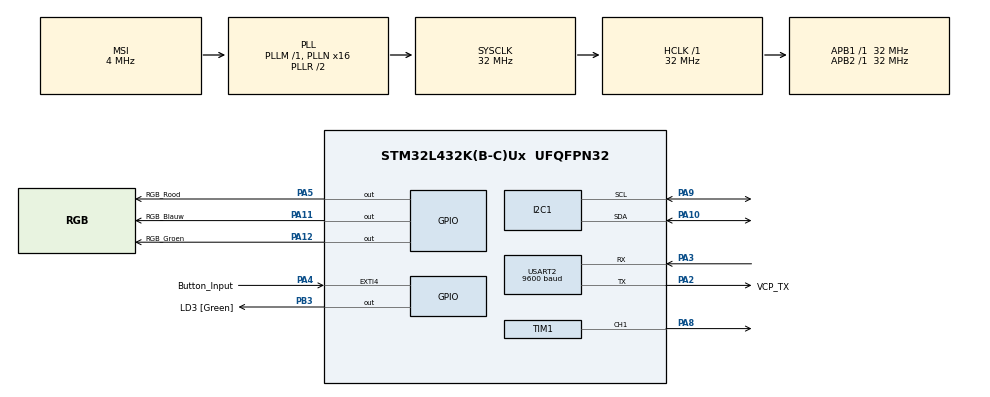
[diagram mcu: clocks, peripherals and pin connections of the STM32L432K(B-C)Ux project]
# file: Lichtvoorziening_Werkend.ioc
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Dma.Request0=TIM1_CH1
Dma.TIM1_CH1.0.Direction=DMA_MEMORY_TO_PERIPH
Dma.TIM1_CH1.0.Instance=DMA1_Channel2
Dma.TIM1_CH1.0.MemDataAlignment=DMA_MDATAALIGN_HALFWORD
Dma.TIM1_CH1.0.MemInc=DMA_MINC_ENABLE
Dma.TIM1_CH1.0.Mode=DMA_CIRCULAR
Dma.TIM1_CH1.0.PeriphDataAlignment=DMA_PDATAALIGN_HALFWORD
Dma.TIM1_CH1.0.PeriphInc=DMA_PINC_DISABLE
Dma.TIM1_CH1.0.Priority=DMA_PRIORITY_LOW
I2C1.Timing=0x00B07CB4
Mcu.Family=STM32L4
Mcu.Name=STM32L432K(B-C)Ux
Mcu.Package=UFQFPN32
NVIC.DMA1_Channel2_IRQn=true\:0\:0\:false\:false\:true\:false\:true\:true
NVIC.EXTI4_IRQn=true\:0\:0\:false\:false\:true\:true\:true\:true
NVIC.PriorityGroup=NVIC_PRIORITYGROUP_4
PA0.GPIO_Label=MCO [High speed clock in]
PA0.Mode=HSE-External-Clock-Source-for-LittleOrca
PA0.Signal=RCC_CK_IN
PA10.GPIO_Pu=GPIO_PULLUP
PA10.Mode=I2C
PA10.Signal=I2C1_SDA
PA11.GPIO_Label=RGB_Blauw
PA11.Signal=GPIO_Output
PA12.GPIO_Label=RGB_Groen
PA12.Signal=GPIO_Output
PA13\ (JTMS-SWDIO).GPIO_Label=SWDIO
PA13\ (JTMS-SWDIO).Mode=Serial_Wire
PA13\ (JTMS-SWDIO).Signal=SYS_JTMS-SWDIO
PA14\ (JTCK-SWCLK).GPIO_Label=SWCLK
PA14\ (JTCK-SWCLK).Mode=Serial_Wire
PA14\ (JTCK-SWCLK).Signal=SYS_JTCK-SWCLK
PA2.GPIO_Label=VCP_TX
PA2.Mode=Asynchronous
PA2.Signal=USART2_TX
PA3.Mode=Asynchronous
PA3.Signal=USART2_RX
PA4.GPIO_Label=Button_Input
PA4.GPIO_ModeDefaultEXTI=GPIO_MODE_IT_FALLING
PA4.GPIO_PuPd=GPIO_PULLUP
PA4.Signal=GPXTI4
PA5.GPIO_Label=RGB_Rood
PA5.Signal=GPIO_Output
PA8.Signal=S_TIM1_CH1
PA9.GPIO_Pu=GPIO_PULLUP
PA9.Mode=I2C
PA9.Signal=I2C1_SCL
PB3\ (JTDO-TRACESWO).GPIO_Label=LD3 [Green]
PB3\ (JTDO-TRACESWO).Signal=GPIO_Output
PC14-OSC32_IN\ (PC14).Mode=LSE-External-Oscillator
PC14-OSC32_IN\ (PC14).Signal=RCC_OSC32_IN
PC15-OSC32_OUT\ (PC15).Mode=LSE-External-Oscillator
PC15-OSC32_OUT\ (PC15).Signal=RCC_OSC32_OUT
ProjectManager.HeapSize=0x200
ProjectManager.StackSize=0x400
ProjectManager.TargetToolchain=STM32CubeIDE
RCC.AHBFreq_Value=32000000
RCC.APB1Freq_Value=32000000
RCC.APB1TimFreq_Value=32000000
RCC.APB2Freq_Value=32000000
RCC.APB2TimFreq_Value=32000000
RCC.CortexFreq_Value=32000000
RCC.HCLKFreq_Value=32000000
RCC.HSE_VALUE=8000000
RCC.HSI16_VALUE=16000000
RCC.HSI48_VALUE=48000000
RCC.HSI_VALUE=16000000
RCC.MSI_VALUE=4000000
RCC.PLLMUL=RCC_PLLMUL_4
RCC.PLLN=16
RCC.SYSCLKFreq_VALUE=32000000
RCC.SYSCLKSource=RCC_SYSCLKSOURCE_PLLCLK
RCC.VCOOutputFreq_Value=64000000
SH.S_TIM1_CH1.0=TIM1_CH1,PWM Generation1 CH1
TIM1.Channel-PWM\ Generation1\ CH1=TIM_CHANNEL_1
TIM1.Period=39
USART2.BaudRate=9600
USART2.VirtualMode-Asynchronous=VM_ASYNC
board=NUCLEO-L432KC

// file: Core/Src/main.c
/* USER CODE BEGIN Header */
/**
  ******************************************************************************
  * @file           : main.c
  * @brief          : Main program body
  ******************************************************************************
  * @attention
  *
  * Copyright (c) 2026 STMicroelectronics.
  * All rights reserved.
  *
  * This software is licensed under terms that can be found in the LICENSE file
  * in the root directory of this software component.
  * If no LICENSE file comes with this software, it is provided AS-IS.
  *
  ******************************************************************************
  */
/* USER CODE END Header */
#include "main.h"

/* USER CODE BEGIN Includes */
#include "ws2812b.h"
#include <string.h>
#include <stdio.h>
/* USER CODE END Includes */

I2C_HandleTypeDef hi2c1;

TIM_HandleTypeDef htim1;
DMA_HandleTypeDef hdma_tim1_ch1;

UART_HandleTypeDef huart2;

/* USER CODE BEGIN PV */
volatile uint8_t  button_pressed   = 0;
volatile uint32_t last_sensor_tick = 0;
volatile uint32_t led_on_tick      = 0;
volatile uint8_t  led_on           = 0;
/* USER CODE END PV */

void SystemClock_Config(void);
static void MX_GPIO_Init(void);
static void MX_DMA_Init(void);
static void MX_I2C1_Init(void);
static void MX_TIM1_Init(void);
static void MX_USART2_UART_Init(void);
/* USER CODE BEGIN PFP */
void SGP30_Init(void);
uint16_t SGP30_ReadCO2(void);
static void chase_tick(int step);
void SHT3x_Read(float *temp);
/* USER CODE END PFP */

/* USER CODE BEGIN 0 */
void SGP30_Init(void)
{
    uint8_t cmd[2] = {0x20, 0x03};
    HAL_I2C_Master_Transmit(&hi2c1, 0x58 << 1, cmd, 2, HAL_MAX_DELAY);
}

uint16_t SGP30_ReadCO2(void)
{
    uint8_t cmd[2] = {0x20, 0x08};
    HAL_I2C_Master_Transmit(&hi2c1, 0x58 << 1, cmd, 2, HAL_MAX_DELAY);

    uint32_t start = HAL_GetTick();
    while (HAL_GetTick() - start < 12);

    uint8_t buf[6];
    HAL_I2C_Master_Receive(&hi2c1, 0x58 << 1, buf, 6, HAL_MAX_DELAY);

    return (uint16_t)((buf[0] << 8) | buf[1]);
}

static void chase_tick(int step)
{
    WS2812B_Clear();
    uint16_t j = (uint16_t)(step       % WS2812B_NUM_LEDS);
    uint16_t i = (uint16_t)((step + 1) % WS2812B_NUM_LEDS);
    WS2812B_SetLED(i, 255, 0, 0);
    WS2812B_SetLED(j, 255, 0, 0);
}
/* USER CODE END 0 */

int main(void)
{

  /* MCU Configuration--------------------------------------------------------*/

  /* Reset of all peripherals, Initializes the Flash interface and the Systick. */
  HAL_Init();

  /* Configure the system clock */
  SystemClock_Config();

  /* Initialize all configured peripherals */
  MX_GPIO_Init();
  MX_DMA_Init();
  MX_I2C1_Init();
  MX_TIM1_Init();
  MX_USART2_UART_Init();
  /* USER CODE BEGIN 2 */
  /* USER CODE BEGIN 2 */
  char startup[] = "STM32 gestart!\r\n";
  HAL_UART_Transmit(&huart2, (uint8_t *)startup, strlen(startup), 1000);
  SGP30_Init();
  WS2812B_Init();
  /* USER CODE END 2 */

  /* Infinite loop */
  /* USER CODE BEGIN WHILE */
  const char msg_beweging[] = "Beweging gedetecteerd, verlichting gaat aan!\r\n";
  const char msg_uit[]      = "Lamp gaat uit!\r\n";
  int      chase_step      = 0;
  uint32_t last_chase_tick = 0;
  while (1)
  {
	  if (HAL_GetTick() - last_sensor_tick >= 1000)
	  {
	      last_sensor_tick = HAL_GetTick();

	      uint16_t eco2 = SGP30_ReadCO2();

	      float temp = 0.0f;
	      SHT3x_Read(&temp);
	      int t_int = (int)temp;
	      int t_dec = (int)((temp - t_int) * 100);

	      char uart_msg[96];
	      sprintf(uart_msg, "eCO2: %d ppm | Temp: %d.%02d C\r\n", eco2, t_int, t_dec);

	      HAL_UART_Transmit(&huart2, (uint8_t *)uart_msg, strlen(uart_msg), HAL_MAX_DELAY);
	  }

	  //led strip
	  if (HAL_GetTick() - last_chase_tick >= 150)
	  {
	      last_chase_tick = HAL_GetTick();
	      chase_tick(chase_step);
	      chase_step++;
	  }

	  if (button_pressed)
	  {
	      button_pressed = 0;
	      HAL_UART_Transmit(&huart2, (uint8_t *)msg_beweging, strlen(msg_beweging), HAL_MAX_DELAY);
	      HAL_GPIO_WritePin(GPIOA, RGB_Groen_Pin, GPIO_PIN_SET);
	      led_on_tick = HAL_GetTick();
	      led_on = 1;
	  }

	  if (led_on && (HAL_GetTick() - led_on_tick >= 5000))
	  {
	      HAL_GPIO_WritePin(GPIOA, RGB_Groen_Pin, GPIO_PIN_RESET);
	      HAL_UART_Transmit(&huart2, (uint8_t *)msg_uit, strlen(msg_uit), HAL_MAX_DELAY);
	      led_on = 0;
	  }
    /* USER CODE END WHILE */

  }
}

void SystemClock_Config(void)
{
  RCC_OscInitTypeDef RCC_OscInitStruct = {0};
  RCC_ClkInitTypeDef RCC_ClkInitStruct = {0};

  /** Configure the main internal regulator output voltage
  */
  if (HAL_PWREx_ControlVoltageScaling(PWR_REGULATOR_VOLTAGE_SCALE1) != HAL_OK)
  {
    Error_Handler();
  }

  /** Configure LSE Drive Capability
  */
  HAL_PWR_EnableBkUpAccess();
  __HAL_RCC_LSEDRIVE_CONFIG(RCC_LSEDRIVE_LOW);

  /** Initializes the RCC Oscillators according to the specified parameters
  * in the RCC_OscInitTypeDef structure.
  */
  RCC_OscInitStruct.OscillatorType = RCC_OSCILLATORTYPE_LSE|RCC_OSCILLATORTYPE_MSI;
  RCC_OscInitStruct.LSEState = RCC_LSE_ON;
  RCC_OscInitStruct.MSIState = RCC_MSI_ON;
  RCC_OscInitStruct.MSICalibrationValue = 0;
  RCC_OscInitStruct.MSIClockRange = RCC_MSIRANGE_6;
  RCC_OscInitStruct.PLL.PLLState = RCC_PLL_ON;
  RCC_OscInitStruct.PLL.PLLSource = RCC_PLLSOURCE_MSI;
  RCC_OscInitStruct.PLL.PLLM = 1;
  RCC_OscInitStruct.PLL.PLLN = 16;
  RCC_OscInitStruct.PLL.PLLP = RCC_PLLP_DIV7;
  RCC_OscInitStruct.PLL.PLLQ = RCC_PLLQ_DIV2;
  RCC_OscInitStruct.PLL.PLLR = RCC_PLLR_DIV2;
  if (HAL_RCC_OscConfig(&RCC_OscInitStruct) != HAL_OK)
  {
    Error_Handler();
  }

  /** Initializes the CPU, AHB and APB buses clocks
  */
  RCC_ClkInitStruct.ClockType = RCC_CLOCKTYPE_HCLK|RCC_CLOCKTYPE_SYSCLK
                              |RCC_CLOCKTYPE_PCLK1|RCC_CLOCKTYPE_PCLK2;
  RCC_ClkInitStruct.SYSCLKSource = RCC_SYSCLKSOURCE_PLLCLK;
  RCC_ClkInitStruct.AHBCLKDivider = RCC_SYSCLK_DIV1;
  RCC_ClkInitStruct.APB1CLKDivider = RCC_HCLK_DIV1;
  RCC_ClkInitStruct.APB2CLKDivider = RCC_HCLK_DIV1;

  if (HAL_RCC_ClockConfig(&RCC_ClkInitStruct, FLASH_LATENCY_1) != HAL_OK)
  {
    Error_Handler();
  }

  /** Enable MSI Auto calibration
  */
  HAL_RCCEx_EnableMSIPLLMode();
}

static void MX_I2C1_Init(void)
{

  hi2c1.Instance = I2C1;
  hi2c1.Init.Timing = 0x00B07CB4;
  hi2c1.Init.OwnAddress1 = 0;
  hi2c1.Init.AddressingMode = I2C_ADDRESSINGMODE_7BIT;
  hi2c1.Init.DualAddressMode = I2C_DUALADDRESS_DISABLE;
  hi2c1.Init.OwnAddress2 = 0;
  hi2c1.Init.OwnAddress2Masks = I2C_OA2_NOMASK;
  hi2c1.Init.GeneralCallMode = I2C_GENERALCALL_DISABLE;
  hi2c1.Init.NoStretchMode = I2C_NOSTRETCH_DISABLE;
  if (HAL_I2C_Init(&hi2c1) != HAL_OK)
  {
    Error_Handler();
  }

  /** Configure Analogue filter
  */
  if (HAL_I2CEx_ConfigAnalogFilter(&hi2c1, I2C_ANALOGFILTER_ENABLE) != HAL_OK)
  {
    Error_Handler();
  }

  /** Configure Digital filter
  */
  if (HAL_I2CEx_ConfigDigitalFilter(&hi2c1, 0) != HAL_OK)
  {
    Error_Handler();
  }

}

static void MX_TIM1_Init(void)
{

  TIM_MasterConfigTypeDef sMasterConfig = {0};
  TIM_OC_InitTypeDef sConfigOC = {0};
  TIM_BreakDeadTimeConfigTypeDef sBreakDeadTimeConfig = {0};

  htim1.Instance = TIM1;
  htim1.Init.Prescaler = 0;
  htim1.Init.CounterMode = TIM_COUNTERMODE_UP;
  htim1.Init.Period = 39;
  htim1.Init.ClockDivision = TIM_CLOCKDIVISION_DIV1;
  htim1.Init.RepetitionCounter = 0;
  htim1.Init.AutoReloadPreload = TIM_AUTORELOAD_PRELOAD_DISABLE;
  if (HAL_TIM_PWM_Init(&htim1) != HAL_OK)
  {
    Error_Handler();
  }
  sMasterConfig.MasterOutputTrigger = TIM_TRGO_RESET;
  sMasterConfig.MasterOutputTrigger2 = TIM_TRGO2_RESET;
  sMasterConfig.MasterSlaveMode = TIM_MASTERSLAVEMODE_DISABLE;
  if (HAL_TIMEx_MasterConfigSynchronization(&htim1, &sMasterConfig) != HAL_OK)
  {
    Error_Handler();
  }
  sConfigOC.OCMode = TIM_OCMODE_PWM1;
  sConfigOC.Pulse = 0;
  sConfigOC.OCPolarity = TIM_OCPOLARITY_HIGH;
  sConfigOC.OCNPolarity = TIM_OCNPOLARITY_HIGH;
  sConfigOC.OCFastMode = TIM_OCFAST_DISABLE;
  sConfigOC.OCIdleState = TIM_OCIDLESTATE_RESET;
  sConfigOC.OCNIdleState = TIM_OCNIDLESTATE_RESET;
  if (HAL_TIM_PWM_ConfigChannel(&htim1, &sConfigOC, TIM_CHANNEL_1) != HAL_OK)
  {
    Error_Handler();
  }
  sBreakDeadTimeConfig.OffStateRunMode = TIM_OSSR_DISABLE;
  sBreakDeadTimeConfig.OffStateIDLEMode = TIM_OSSI_DISABLE;
  sBreakDeadTimeConfig.LockLevel = TIM_LOCKLEVEL_OFF;
  sBreakDeadTimeConfig.DeadTime = 0;
  sBreakDeadTimeConfig.BreakState = TIM_BREAK_DISABLE;
  sBreakDeadTimeConfig.BreakPolarity = TIM_BREAKPOLARITY_HIGH;
  sBreakDeadTimeConfig.BreakFilter = 0;
  sBreakDeadTimeConfig.Break2State = TIM_BREAK2_DISABLE;
  sBreakDeadTimeConfig.Break2Polarity = TIM_BREAK2POLARITY_HIGH;
  sBreakDeadTimeConfig.Break2Filter = 0;
  sBreakDeadTimeConfig.AutomaticOutput = TIM_AUTOMATICOUTPUT_DISABLE;
  if (HAL_TIMEx_ConfigBreakDeadTime(&htim1, &sBreakDeadTimeConfig) != HAL_OK)
  {
    Error_Handler();
  }
  HAL_TIM_MspPostInit(&htim1);

}

static void MX_USART2_UART_Init(void)
{

  huart2.Instance = USART2;
  huart2.Init.BaudRate = 9600;
  huart2.Init.WordLength = UART_WORDLENGTH_8B;
  huart2.Init.StopBits = UART_STOPBITS_1;
  huart2.Init.Parity = UART_PARITY_NONE;
  huart2.Init.Mode = UART_MODE_TX_RX;
  huart2.Init.HwFlowCtl = UART_HWCONTROL_NONE;
  huart2.Init.OverSampling = UART_OVERSAMPLING_16;
  huart2.Init.OneBitSampling = UART_ONE_BIT_SAMPLE_DISABLE;
  huart2.AdvancedInit.AdvFeatureInit = UART_ADVFEATURE_NO_INIT;
  if (HAL_UART_Init(&huart2) != HAL_OK)
  {
    Error_Handler();
  }

}

static void MX_DMA_Init(void)
{

  /* DMA controller clock enable */
  __HAL_RCC_DMA1_CLK_ENABLE();

  /* DMA interrupt init */
  /* DMA1_Channel2_IRQn interrupt configuration */
  HAL_NVIC_SetPriority(DMA1_Channel2_IRQn, 0, 0);
  HAL_NVIC_EnableIRQ(DMA1_Channel2_IRQn);

}

static void MX_GPIO_Init(void)
{
  GPIO_InitTypeDef GPIO_InitStruct = {0};

  /* GPIO Ports Clock Enable */
  __HAL_RCC_GPIOC_CLK_ENABLE();
  __HAL_RCC_GPIOA_CLK_ENABLE();
  __HAL_RCC_GPIOB_CLK_ENABLE();

  /*Configure GPIO pin Output Level */
  HAL_GPIO_WritePin(GPIOA, RGB_Rood_Pin|RGB_Blauw_Pin|RGB_Groen_Pin, GPIO_PIN_RESET);

  /*Configure GPIO pin Output Level */
  HAL_GPIO_WritePin(LD3_GPIO_Port, LD3_Pin, GPIO_PIN_RESET);

  /*Configure GPIO pin : Button_Input_Pin */
  GPIO_InitStruct.Pin = Button_Input_Pin;
  GPIO_InitStruct.Mode = GPIO_MODE_IT_FALLING;
  GPIO_InitStruct.Pull = GPIO_PULLUP;
  HAL_GPIO_Init(Button_Input_GPIO_Port, &GPIO_InitStruct);

  /*Configure GPIO pins : RGB_Rood_Pin RGB_Blauw_Pin RGB_Groen_Pin */
  GPIO_InitStruct.Pin = RGB_Rood_Pin|RGB_Blauw_Pin|RGB_Groen_Pin;
  GPIO_InitStruct.Mode = GPIO_MODE_OUTPUT_PP;
  GPIO_InitStruct.Pull = GPIO_NOPULL;
  GPIO_InitStruct.Speed = GPIO_SPEED_FREQ_LOW;
  HAL_GPIO_Init(GPIOA, &GPIO_InitStruct);

  /*Configure GPIO pin : LD3_Pin */
  GPIO_InitStruct.Pin = LD3_Pin;
  GPIO_InitStruct.Mode = GPIO_MODE_OUTPUT_PP;
  GPIO_InitStruct.Pull = GPIO_NOPULL;
  GPIO_InitStruct.Speed = GPIO_SPEED_FREQ_LOW;
  HAL_GPIO_Init(LD3_GPIO_Port, &GPIO_InitStruct);

  /* EXTI interrupt init*/
  HAL_NVIC_SetPriority(EXTI4_IRQn, 0, 0);
  HAL_NVIC_EnableIRQ(EXTI4_IRQn);

}

/* USER CODE BEGIN 4 */
void HAL_GPIO_EXTI_Callback(uint16_t GPIO_Pin)
{
    static uint32_t last_tick = 0;
    if (GPIO_Pin == Button_Input_Pin)
    {
        uint32_t now = HAL_GetTick();
        if (now - last_tick > 200)
        {
            button_pressed = 1;
            last_tick = now;
        }
    }
}

void HAL_TIM_PWM_PulseFinishedHalfCpltCallback(TIM_HandleTypeDef *htim)
{
    if (htim->Instance == TIM1)
        WS2812B_DMA_HalfCpltCallback();
}

void HAL_TIM_PWM_PulseFinishedCallback(TIM_HandleTypeDef *htim)
{
    if (htim->Instance == TIM1)
        WS2812B_DMA_CpltCallback();
}

void SHT3x_Read(float *temp)
{
    uint8_t cmd[2] = {0x24, 0x00};
    uint8_t data[6];

    HAL_I2C_Master_Transmit(&hi2c1, 0x44 << 1, cmd, 2, HAL_MAX_DELAY);
    HAL_Delay(15);
    HAL_I2C_Master_Receive(&hi2c1, 0x44 << 1, data, 6, HAL_MAX_DELAY);

    uint16_t rawTemp = (data[0] << 8) | data[1];
    *temp = -45.0f + 175.0f * ((float)rawTemp / 65535.0f);
}
/* USER CODE END 4 */

void Error_Handler(void)
{
  __disable_irq();
  while (1)
  {
  }
}
